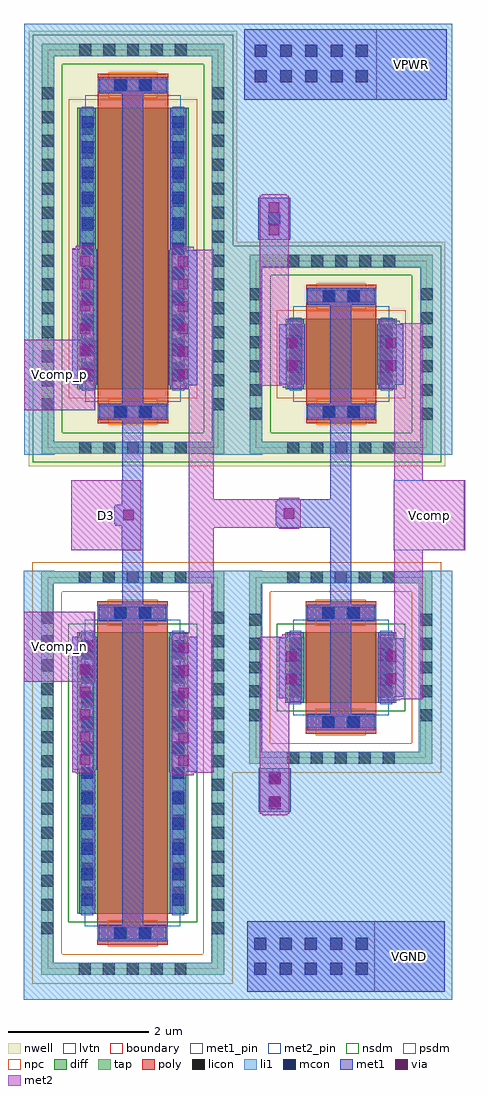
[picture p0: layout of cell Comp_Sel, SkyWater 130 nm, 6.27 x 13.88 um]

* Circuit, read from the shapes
.subckt Comp_Sel D3 VGND VPWR Vcomp Vcomp_n Vcomp_p
XM1 n1 D3 Vcomp_n VGND sky130_fd_pr__nfet_01v8_lvt w=4 l=1
XM2 Vcomp n1 VGND VGND sky130_fd_pr__nfet_01v8_lvt w=1 l=1
XM3 n1 D3 Vcomp_p VPWR sky130_fd_pr__pfet_01v8_lvt w=4 l=1
XM4 Vcomp n1 VPWR VPWR sky130_fd_pr__pfet_01v8_lvt w=1 l=1
.ends

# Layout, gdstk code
from math import pi, radians
import gdstk
lib = gdstk.Library(unit=1e-6, precision=1e-09)
def R(c, l, rs):  # rectangles x0, y0, x1, y1
    for r in rs: c.add(gdstk.rectangle(r[:2], r[2:], *l))
def A(c, l, x, y, w, h, nx, ny, dx, dy):  # array of equal rectangles
    R(c, l, [(x+i*dx, y+j*dy, x+i*dx+w, y+j*dy+h) for i in range(nx) for j in range(ny)])
nwell = (64, 20)
diff = (65, 20)
tap = (65, 44)
poly = (66, 20)
licon = (66, 44)
li1 = (67, 20)
mcon = (67, 44)
met1_pin = (68, 16)
met1 = (68, 20)
via = (68, 44)
met2_pin = (69, 16)
met2 = (69, 20)
nsdm = (93, 44)
psdm = (94, 20)
npc = (95, 20)
lvtn = (125, 44)
boundary = (235, 4)

sky130_fd_pr__nfet_01v8_ = lib.new_cell('sky130_fd_pr__nfet_01v8_lvt_69TQ3K')
R(sky130_fd_pr__nfet_01v8_, diff, [(-0.79,-0.5,0.79,0.5)])
R(sky130_fd_pr__nfet_01v8_, tap, [(-1.3,-1.37,1.3,-1.2), (-1.3,-1.2,-1.13,1.2), (1.13,-1.2,1.3,1.2), (-1.3,1.2,1.3,1.37)])
R(sky130_fd_pr__nfet_01v8_, poly, [(-0.5,-0.94,0.5,0.94)])
A(sky130_fd_pr__nfet_01v8_, licon, -0.765, -1.37, 0.17, 0.17, 5, 2, 0.34, 2.57)
A(sky130_fd_pr__nfet_01v8_, licon, -1.3, -0.765, 0.17, 0.17, 1, 5, 0, 0.34)
A(sky130_fd_pr__nfet_01v8_, licon, 1.13, -0.765, 0.17, 0.17, 1, 5, 0, 0.34)
A(sky130_fd_pr__nfet_01v8_, licon, -0.73, -0.425, 0.17, 0.17, 1, 3, 0, 0.34)
A(sky130_fd_pr__nfet_01v8_, licon, 0.56, -0.425, 0.17, 0.17, 1, 3, 0, 0.34)
R(sky130_fd_pr__nfet_01v8_, licon, [(-0.255,-0.86,-0.085,-0.69), (0.085,-0.86,0.255,-0.69), (-0.255,0.69,-0.085,0.86), (0.085,0.69,0.255,0.86)])
R(sky130_fd_pr__nfet_01v8_, li1, [(-1.3,-1.37,1.3,-1.2), (-1.3,-1.2,-1.13,1.2), (1.13,-1.2,1.3,1.2), (-0.5,-0.86,0.5,-0.69), (-0.73,-0.52,-0.56,0.52), (0.56,-0.52,0.73,0.52), (-0.5,0.69,0.5,0.86), (-1.3,1.2,1.3,1.37)])
R(sky130_fd_pr__nfet_01v8_, mcon, [(-0.265,-0.86,-0.095,-0.69), (0.095,-0.86,0.265,-0.69), (-0.73,-0.265,-0.56,-0.095), (0.56,-0.265,0.73,-0.095), (-0.73,0.095,-0.56,0.265), (0.56,0.095,0.73,0.265), (-0.265,0.69,-0.095,0.86), (0.095,0.69,0.265,0.86)])
R(sky130_fd_pr__nfet_01v8_, met1, [(-0.48,-0.89,0.48,-0.66), (-0.76,-0.5,-0.53,0.5), (0.53,-0.5,0.76,0.5), (-0.48,0.66,0.48,0.89)])
R(sky130_fd_pr__nfet_01v8_, nsdm, [(-0.915,-0.625,0.915,0.625)])
R(sky130_fd_pr__nfet_01v8_, psdm, [(-1.425,-1.495,1.425,-1.075), (-1.425,-1.075,-1.005,1.075), (1.005,-1.075,1.425,1.075), (-1.425,1.075,1.425,1.495)])
R(sky130_fd_pr__nfet_01v8_, npc, [(-0.355,-0.96,0.355,-0.59), (-0.355,0.59,0.355,0.96)])
R(sky130_fd_pr__nfet_01v8_, lvtn, [(-0.68,-0.68,0.68,0.68)])
R(sky130_fd_pr__nfet_01v8_, boundary, [(-1.21,-1.28,1.21,1.28)])

sky130_fd_pr__pfet_01v8_ = lib.new_cell('sky130_fd_pr__pfet_01v8_lvt_3VR9VM')
R(sky130_fd_pr__pfet_01v8_, nwell, [(-1.48,-1.595,1.48,1.595)])
R(sky130_fd_pr__pfet_01v8_, diff, [(-0.79,-0.5,0.79,0.5)])
R(sky130_fd_pr__pfet_01v8_, tap, [(-1.3,-1.415,1.3,-1.245), (-1.3,-1.245,-1.13,1.245), (1.13,-1.245,1.3,1.245), (-1.3,1.245,1.3,1.415)])
R(sky130_fd_pr__pfet_01v8_, poly, [(-0.5,-0.985,0.5,0.985)])
A(sky130_fd_pr__pfet_01v8_, licon, -0.765, -1.415, 0.17, 0.17, 5, 2, 0.34, 2.66)
A(sky130_fd_pr__pfet_01v8_, licon, -1.3, -0.935, 0.17, 0.17, 1, 6, 0, 0.34)
A(sky130_fd_pr__pfet_01v8_, licon, 1.13, -0.935, 0.17, 0.17, 1, 6, 0, 0.34)
A(sky130_fd_pr__pfet_01v8_, licon, -0.73, -0.425, 0.17, 0.17, 1, 3, 0, 0.34)
A(sky130_fd_pr__pfet_01v8_, licon, 0.56, -0.425, 0.17, 0.17, 1, 3, 0, 0.34)
R(sky130_fd_pr__pfet_01v8_, licon, [(-0.255,-0.905,-0.085,-0.735), (0.085,-0.905,0.255,-0.735), (-0.255,0.735,-0.085,0.905), (0.085,0.735,0.255,0.905)])
R(sky130_fd_pr__pfet_01v8_, li1, [(-1.3,-1.415,1.3,-1.245), (-1.3,-1.245,-1.13,1.245), (1.13,-1.245,1.3,1.245), (-0.5,-0.905,0.5,-0.735), (-0.73,-0.52,-0.56,0.52), (0.56,-0.52,0.73,0.52), (-0.5,0.735,0.5,0.905), (-1.3,1.245,1.3,1.415)])
R(sky130_fd_pr__pfet_01v8_, mcon, [(-0.265,-0.905,-0.095,-0.735), (0.095,-0.905,0.265,-0.735), (-0.73,-0.265,-0.56,-0.095), (0.56,-0.265,0.73,-0.095), (-0.73,0.095,-0.56,0.265), (0.56,0.095,0.73,0.265), (-0.265,0.735,-0.095,0.905), (0.095,0.735,0.265,0.905)])
R(sky130_fd_pr__pfet_01v8_, met1, [(-0.48,-0.935,0.48,-0.705), (-0.76,-0.5,-0.53,0.5), (0.53,-0.5,0.76,0.5), (-0.48,0.705,0.48,0.935)])
R(sky130_fd_pr__pfet_01v8_, nsdm, [(-1.425,-1.54,1.425,-1.12), (-1.425,-1.12,-1.005,1.12), (1.005,-1.12,1.425,1.12), (-1.425,1.12,1.425,1.54)])
R(sky130_fd_pr__pfet_01v8_, psdm, [(-0.915,-0.625,0.915,0.625)])
R(sky130_fd_pr__pfet_01v8_, npc, [(-0.355,-1.005,0.355,-0.635), (-0.355,0.635,0.355,1.005)])
R(sky130_fd_pr__pfet_01v8_, lvtn, [(-0.68,-0.68,0.68,0.68)])
R(sky130_fd_pr__pfet_01v8_, boundary, [(-1.215,-1.33,1.215,1.33)])

c_sky130_fd_pr__nfet_01v8_ = lib.new_cell('sky130_fd_pr__nfet_01v8_lvt_AHMAL2')
R(c_sky130_fd_pr__nfet_01v8_, diff, [(-0.79,-2,0.79,2)])
R(c_sky130_fd_pr__nfet_01v8_, tap, [(-1.3,-2.87,1.3,-2.7), (-1.3,-2.7,-1.13,2.7), (1.13,-2.7,1.3,2.7), (-1.3,2.7,1.3,2.87)])
R(c_sky130_fd_pr__nfet_01v8_, poly, [(-0.5,-2.44,0.5,2.44)])
A(c_sky130_fd_pr__nfet_01v8_, licon, -0.765, -2.87, 0.17, 0.17, 5, 2, 0.34, 5.57)
A(c_sky130_fd_pr__nfet_01v8_, licon, -1.3, -2.295, 0.17, 0.17, 1, 14, 0, 0.34)
A(c_sky130_fd_pr__nfet_01v8_, licon, 1.13, -2.295, 0.17, 0.17, 1, 14, 0, 0.34)
A(c_sky130_fd_pr__nfet_01v8_, licon, -0.73, -1.785, 0.17, 0.17, 1, 11, 0, 0.34)
A(c_sky130_fd_pr__nfet_01v8_, licon, 0.56, -1.785, 0.17, 0.17, 1, 11, 0, 0.34)
R(c_sky130_fd_pr__nfet_01v8_, licon, [(-0.255,-2.36,-0.085,-2.19), (0.085,-2.36,0.255,-2.19), (-0.255,2.19,-0.085,2.36), (0.085,2.19,0.255,2.36)])
R(c_sky130_fd_pr__nfet_01v8_, li1, [(-1.3,-2.87,1.3,-2.7), (-1.3,-2.7,-1.13,2.7), (1.13,-2.7,1.3,2.7), (-0.5,-2.36,0.5,-2.19), (-0.73,-2.02,-0.56,2.02), (0.56,-2.02,0.73,2.02), (-0.5,2.19,0.5,2.36), (-1.3,2.7,1.3,2.87)])
A(c_sky130_fd_pr__nfet_01v8_, mcon, -0.73, -1.885, 0.17, 0.17, 1, 11, 0, 0.36)
A(c_sky130_fd_pr__nfet_01v8_, mcon, 0.56, -1.885, 0.17, 0.17, 1, 11, 0, 0.36)
R(c_sky130_fd_pr__nfet_01v8_, mcon, [(-0.265,-2.36,-0.095,-2.19), (0.095,-2.36,0.265,-2.19), (-0.265,2.19,-0.095,2.36), (0.095,2.19,0.265,2.36)])
R(c_sky130_fd_pr__nfet_01v8_, met1, [(-0.48,-2.39,0.48,-2.16), (-0.76,-2,-0.53,2), (0.53,-2,0.76,2), (-0.48,2.16,0.48,2.39)])
R(c_sky130_fd_pr__nfet_01v8_, nsdm, [(-0.915,-2.125,0.915,2.125)])
R(c_sky130_fd_pr__nfet_01v8_, psdm, [(-1.425,-2.995,1.425,-2.575), (-1.425,-2.575,-1.005,2.575), (1.005,-2.575,1.425,2.575), (-1.425,2.575,1.425,2.995)])
R(c_sky130_fd_pr__nfet_01v8_, npc, [(-0.355,-2.46,0.355,-2.09), (-0.355,2.09,0.355,2.46)])
R(c_sky130_fd_pr__nfet_01v8_, lvtn, [(-0.68,-2.18,0.68,2.18)])
R(c_sky130_fd_pr__nfet_01v8_, boundary, [(-1.21,-2.78,1.21,2.78)])

c_sky130_fd_pr__pfet_01v8_ = lib.new_cell('sky130_fd_pr__pfet_01v8_lvt_3VA8VM')
R(c_sky130_fd_pr__pfet_01v8_, nwell, [(-1.48,-3.095,1.48,3.095)])
R(c_sky130_fd_pr__pfet_01v8_, diff, [(-0.79,-2,0.79,2)])
R(c_sky130_fd_pr__pfet_01v8_, tap, [(-1.3,-2.915,1.3,-2.745), (-1.3,-2.745,-1.13,2.745), (1.13,-2.745,1.3,2.745), (-1.3,2.745,1.3,2.915)])
R(c_sky130_fd_pr__pfet_01v8_, poly, [(-0.5,-2.485,0.5,2.485)])
A(c_sky130_fd_pr__pfet_01v8_, licon, -0.765, -2.915, 0.17, 0.17, 5, 2, 0.34, 5.66)
A(c_sky130_fd_pr__pfet_01v8_, licon, -1.3, -2.295, 0.17, 0.17, 1, 14, 0, 0.34)
A(c_sky130_fd_pr__pfet_01v8_, licon, 1.13, -2.295, 0.17, 0.17, 1, 14, 0, 0.34)
A(c_sky130_fd_pr__pfet_01v8_, licon, -0.73, -1.785, 0.17, 0.17, 1, 11, 0, 0.34)
A(c_sky130_fd_pr__pfet_01v8_, licon, 0.56, -1.785, 0.17, 0.17, 1, 11, 0, 0.34)
R(c_sky130_fd_pr__pfet_01v8_, licon, [(-0.255,-2.405,-0.085,-2.235), (0.085,-2.405,0.255,-2.235), (-0.255,2.235,-0.085,2.405), (0.085,2.235,0.255,2.405)])
R(c_sky130_fd_pr__pfet_01v8_, li1, [(-1.3,-2.915,1.3,-2.745), (-1.3,-2.745,-1.13,2.745), (1.13,-2.745,1.3,2.745), (-0.5,-2.405,0.5,-2.235), (-0.73,-2.02,-0.56,2.02), (0.56,-2.02,0.73,2.02), (-0.5,2.235,0.5,2.405), (-1.3,2.745,1.3,2.915)])
A(c_sky130_fd_pr__pfet_01v8_, mcon, -0.73, -1.885, 0.17, 0.17, 1, 11, 0, 0.36)
A(c_sky130_fd_pr__pfet_01v8_, mcon, 0.56, -1.885, 0.17, 0.17, 1, 11, 0, 0.36)
R(c_sky130_fd_pr__pfet_01v8_, mcon, [(-0.265,-2.405,-0.095,-2.235), (0.095,-2.405,0.265,-2.235), (-0.265,2.235,-0.095,2.405), (0.095,2.235,0.265,2.405)])
R(c_sky130_fd_pr__pfet_01v8_, met1, [(-0.48,-2.435,0.48,-2.205), (-0.76,-2,-0.53,2), (0.53,-2,0.76,2), (-0.48,2.205,0.48,2.435)])
R(c_sky130_fd_pr__pfet_01v8_, nsdm, [(-1.425,-3.04,1.425,-2.62), (-1.425,-2.62,-1.005,2.62), (1.005,-2.62,1.425,2.62), (-1.425,2.62,1.425,3.04)])
R(c_sky130_fd_pr__pfet_01v8_, psdm, [(-0.915,-2.125,0.915,2.125)])
R(c_sky130_fd_pr__pfet_01v8_, npc, [(-0.355,-2.505,0.355,-2.135), (-0.355,2.135,0.355,2.505)])
R(c_sky130_fd_pr__pfet_01v8_, lvtn, [(-0.68,-2.18,0.68,2.18)])
R(c_sky130_fd_pr__pfet_01v8_, boundary, [(-1.215,-2.83,1.215,2.83)])

comp_sel = lib.new_cell('Comp_Sel')
R(comp_sel, li1, [(5.06,-11.345,11.145,-10.82), (5.06,-10.82,5.485,-5.25), (7.725,-10.82,11.145,-7.82), (7.725,-7.82,8.445,-5.25), (10.675,-7.82,11.145,-5.25), (5.065,-3.6,5.49,2.065), (7.73,-3.6,8.45,-0.945), (10.69,-3.6,11.145,-0.945), (7.73,-0.945,11.145,2.065), (5.065,2.065,11.145,2.53)])
A(comp_sel, mcon, 8.335, -10.995, 0.17, 0.17, 5, 2, 0.36, 0.36)
A(comp_sel, mcon, 8.34, 1.695, 0.17, 0.17, 5, 2, 0.36, 0.36)
R(comp_sel, mcon, [(8.54,-8.64,8.71,-8.47), (8.54,-8.28,8.71,-8.11), (8.535,-0.325,8.705,-0.155)])
R(comp_sel, met1_pin, [(10.04,-11.235,11.04,-10.235), (10.07,1.445,11.07,2.445)])
R(comp_sel, met1, [(8.235,-11.235,11.04,-10.235), (6.455,-10.495,6.755,-4.94), (8.395,-8.675,8.855,-8.06), (7.125,-8.11,7.525,-6.19), (5.745,-8.08,6.105,-6.185), (9.415,-7.495,9.715,-4.635), (8.685,-7.06,9.045,-6.2), (10.09,-7.04,10.46,-6.21), (6.45,-4.94,6.755,-4.61), (8.66,-4.635,9.715,-4.605), (6.36,-4.61,6.755,-4.59), (8.64,-4.605,9.715,-4.26), (6.34,-4.59,6.755,-4.33), (6.36,-4.33,6.755,-4.31), (6.45,-4.31,6.755,-3.98), (8.66,-4.26,9.715,-4.235), (9.415,-4.235,9.715,-1.265), (6.455,-3.98,6.755,1.735), (7.12,-2.615,7.52,-0.695), (5.745,-2.605,6.105,-0.68), (10.085,-2.605,10.455,-1.745), (8.69,-2.6,9.05,-1.745), (8.39,-0.545,8.845,0.055), (8.19,1.445,11.07,2.445)])
A(comp_sel, via, 7.25, -8.025, 0.15, 0.15, 1, 6, 0, 0.32)
A(comp_sel, via, 5.85, -8.01, 0.15, 0.15, 1, 6, 0, 0.32)
A(comp_sel, via, 7.245, -2.53, 0.15, 0.15, 1, 6, 0, 0.32)
A(comp_sel, via, 5.85, -2.52, 0.15, 0.15, 1, 6, 0, 0.32)
R(comp_sel, via, [(8.55,-8.605,8.7,-8.455), (8.55,-8.285,8.7,-8.135), (8.79,-6.865,8.94,-6.715), (10.2,-6.86,10.35,-6.71), (8.79,-6.545,8.94,-6.395), (10.2,-6.54,10.35,-6.39), (6.47,-4.535,6.62,-4.385), (8.755,-4.51,8.905,-4.36), (8.795,-2.41,8.945,-2.26), (10.195,-2.41,10.345,-2.26), (8.795,-2.09,8.945,-1.94), (10.195,-2.09,10.345,-1.94), (8.54,-0.48,8.69,-0.33), (8.54,-0.16,8.69,-0.01)])
R(comp_sel, met2_pin, [(5.06,-6.83,6.06,-5.83), (5.73,-4.96,6.73,-3.96), (10.32,-4.96,11.32,-3.96), (5.065,-2.965,6.065,-1.965)])
R(comp_sel, met2, [(8.445,-8.725,8.805,-8.705), (8.415,-8.705,8.83,-7.11), (7.175,-8.16,7.475,-8.125), (5.795,-8.13,6.055,-8.115), (7.16,-8.125,7.755,-6.18), (5.745,-8.115,6.055,-6.83), (8.415,-7.11,8.995,-7.075), (10.14,-7.09,10.41,-7.075), (8.415,-7.075,9.01,-6.185), (10.12,-7.075,10.73,-6.18), (5.06,-6.83,6.07,-5.83), (8.735,-6.185,8.995,-6.15), (7.175,-6.18,7.755,-6.14), (10.14,-6.18,10.73,-6.16), (10.325,-6.16,10.73,-4.96), (7.4,-6.14,7.755,-4.635), (5.73,-4.96,6.73,-3.96), (10.32,-4.96,11.33,-3.96), (8.69,-4.655,8.97,-4.635), (7.4,-4.635,8.995,-4.235), (7.4,-4.235,7.755,-2.665), (8.69,-4.235,8.97,-4.21), (10.325,-3.96,10.73,-2.655), (5.065,-2.965,6.075,-1.965), (7.17,-2.665,7.755,-2.625), (10.135,-2.655,10.73,-2.62), (8.74,-2.65,9,-2.62), (7.16,-2.625,7.755,-0.685), (8.41,-2.62,9.015,-1.73), (10.12,-2.62,10.73,-1.73), (5.745,-1.965,6.055,-0.665), (8.41,-1.73,9,-1.695), (10.135,-1.73,10.405,-1.695), (8.41,-1.695,8.825,0.08), (7.17,-0.685,7.47,-0.645), (5.795,-0.665,6.055,-0.63), (8.44,0.08,8.795,0.105)])
R(comp_sel, nsdm, [(8.035,-3.71,8.145,-0.63)])
R(comp_sel, psdm, [(8.03,-8.12,8.14,-5.13)])
comp_sel.add(gdstk.Reference(sky130_fd_pr__nfet_01v8_, (9.565,-6.625)))
comp_sel.add(gdstk.Reference(sky130_fd_pr__pfet_01v8_, (9.57,-2.17)))
comp_sel.add(gdstk.Reference(c_sky130_fd_pr__nfet_01v8_, (6.605,-8.125), rotation=pi, x_reflection=True))
comp_sel.add(gdstk.Reference(c_sky130_fd_pr__pfet_01v8_, (6.61,-0.67)))
comp_sel.add(gdstk.Label('VPWR', (10.57,1.945), layer=68, texttype=5))
comp_sel.add(gdstk.Label('Vcomp_p', (5.565,-2.465), layer=69, texttype=5))
comp_sel.add(gdstk.Label('D3', (6.23,-4.46), layer=69, texttype=5))
comp_sel.add(gdstk.Label('Vcomp', (10.82,-4.46), layer=69, texttype=5))
comp_sel.add(gdstk.Label('Vcomp_n', (5.56,-6.33), layer=69, texttype=5))
comp_sel.add(gdstk.Label('VGND', (10.54,-10.735), layer=68, texttype=5))

lib.write_gds('Comp_Sel.gds')
